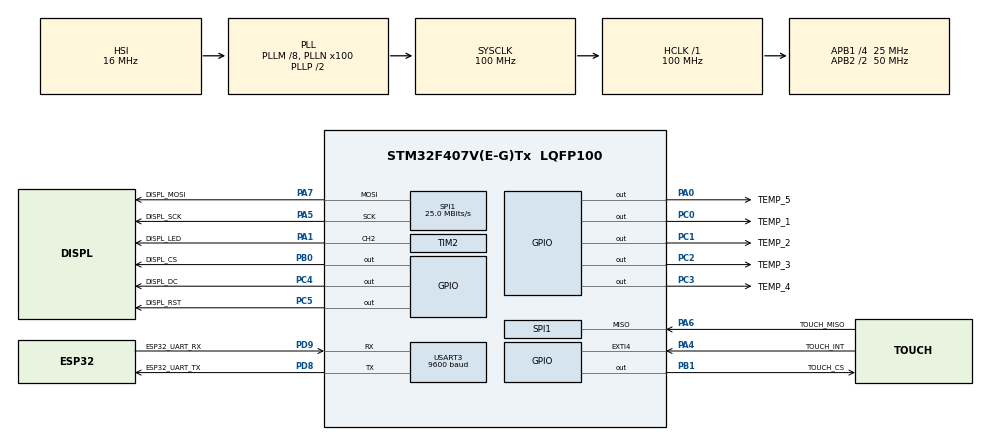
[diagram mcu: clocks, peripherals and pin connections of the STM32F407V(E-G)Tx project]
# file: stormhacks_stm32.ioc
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Dma.Request0=SPI1_TX
Dma.SPI1_TX.0.Direction=DMA_MEMORY_TO_PERIPH
Dma.SPI1_TX.0.FIFOMode=DMA_FIFOMODE_DISABLE
Dma.SPI1_TX.0.Instance=DMA2_Stream3
Dma.SPI1_TX.0.MemDataAlignment=DMA_MDATAALIGN_BYTE
Dma.SPI1_TX.0.MemInc=DMA_MINC_ENABLE
Dma.SPI1_TX.0.Mode=DMA_NORMAL
Dma.SPI1_TX.0.PeriphDataAlignment=DMA_PDATAALIGN_BYTE
Dma.SPI1_TX.0.PeriphInc=DMA_PINC_DISABLE
Dma.SPI1_TX.0.Priority=DMA_PRIORITY_LOW
FREERTOS.Tasks01=defaultTask,24,128,StartDefaultTask,Default,NULL,Dynamic,NULL,NULL
FREERTOS.configCHECK_FOR_STACK_OVERFLOW=2
FREERTOS.configUSE_NEWLIB_REENTRANT=1
Mcu.Family=STM32F4
Mcu.Name=STM32F407V(E-G)Tx
Mcu.Package=LQFP100
NVIC.DMA2_Stream3_IRQn=true\:5\:0\:false\:false\:true\:true\:false\:true\:true
NVIC.EXTI4_IRQn=true\:5\:0\:false\:false\:true\:true\:true\:true\:true
NVIC.PriorityGroup=NVIC_PRIORITYGROUP_4
NVIC.SPI1_IRQn=true\:5\:0\:false\:false\:true\:true\:true\:true\:true
NVIC.TIM7_IRQn=true\:15\:0\:false\:false\:true\:false\:true\:true\:true
NVIC.TimeBase=TIM7_IRQn
NVIC.TimeBaseIP=TIM7
PA0-WKUP.GPIO_Label=TEMP_5
PA0-WKUP.GPIO_ModeDefaultOutputPP=GPIO_MODE_OUTPUT_OD
PA0-WKUP.GPIO_PuPd=GPIO_NOPULL
PA0-WKUP.GPIO_Speed=GPIO_SPEED_FREQ_HIGH
PA0-WKUP.PinState=GPIO_PIN_SET
PA0-WKUP.Signal=GPIO_Output
PA1.GPIO_Label=DISPL_LED
PA1.Signal=S_TIM2_CH2
PA13.Mode=Serial_Wire
PA13.Signal=SYS_JTMS-SWDIO
PA14.Mode=Serial_Wire
PA14.Signal=SYS_JTCK-SWCLK
PA4.GPIO_Label=TOUCH_INT
PA4.GPIO_ModeDefaultEXTI=GPIO_MODE_IT_FALLING
PA4.GPIO_PuPd=GPIO_PULLUP
PA4.Signal=GPXTI4
PA5.GPIO_Label=DISPL_SCK
PA5.Mode=Full_Duplex_Master
PA5.Signal=SPI1_SCK
PA6.GPIO_Label=TOUCH_MISO
PA6.Mode=Full_Duplex_Master
PA6.Signal=SPI1_MISO
PA7.GPIO_Label=DISPL_MOSI
PA7.Mode=Full_Duplex_Master
PA7.Signal=SPI1_MOSI
PB0.GPIO_Label=DISPL_CS
PB0.GPIO_Speed=GPIO_SPEED_FREQ_HIGH
PB0.PinState=GPIO_PIN_SET
PB0.Signal=GPIO_Output
PB1.GPIO_Label=TOUCH_CS
PB1.GPIO_Speed=GPIO_SPEED_FREQ_HIGH
PB1.PinState=GPIO_PIN_SET
PB1.Signal=GPIO_Output
PC0.GPIO_Label=TEMP_1
PC0.GPIO_ModeDefaultOutputPP=GPIO_MODE_OUTPUT_OD
PC0.GPIO_PuPd=GPIO_NOPULL
PC0.GPIO_Speed=GPIO_SPEED_FREQ_HIGH
PC0.PinState=GPIO_PIN_SET
PC0.Signal=GPIO_Output
PC1.GPIO_Label=TEMP_2
PC1.GPIO_ModeDefaultOutputPP=GPIO_MODE_OUTPUT_OD
PC1.GPIO_PuPd=GPIO_NOPULL
PC1.GPIO_Speed=GPIO_SPEED_FREQ_HIGH
PC1.PinState=GPIO_PIN_SET
PC1.Signal=GPIO_Output
PC2.GPIO_Label=TEMP_3
PC2.GPIO_ModeDefaultOutputPP=GPIO_MODE_OUTPUT_OD
PC2.GPIO_PuPd=GPIO_NOPULL
PC2.GPIO_Speed=GPIO_SPEED_FREQ_HIGH
PC2.PinState=GPIO_PIN_SET
PC2.Signal=GPIO_Output
PC3.GPIO_Label=TEMP_4
PC3.GPIO_ModeDefaultOutputPP=GPIO_MODE_OUTPUT_OD
PC3.GPIO_PuPd=GPIO_NOPULL
PC3.GPIO_Speed=GPIO_SPEED_FREQ_HIGH
PC3.PinState=GPIO_PIN_SET
PC3.Signal=GPIO_Output
PC4.GPIO_Label=DISPL_DC
PC4.GPIO_Speed=GPIO_SPEED_FREQ_HIGH
PC4.Signal=GPIO_Output
PC5.GPIO_Label=DISPL_RST
PC5.Signal=GPIO_Output
PD8.GPIO_Label=ESP32_UART_TX
PD8.Mode=Asynchronous
PD8.Signal=USART3_TX
PD9.GPIO_Label=ESP32_UART_RX
PD9.Mode=Asynchronous
PD9.Signal=USART3_RX
PH0-OSC_IN.Mode=HSE-External-Oscillator
PH0-OSC_IN.Signal=RCC_OSC_IN
PH1-OSC_OUT.Mode=HSE-External-Oscillator
PH1-OSC_OUT.Signal=RCC_OSC_OUT
ProjectManager.HeapSize=0x200
ProjectManager.StackSize=0x400
ProjectManager.TargetToolchain=STM32CubeIDE
RCC.48MHZClocksFreq_Value=50000000
RCC.AHBFreq_Value=100000000
RCC.APB1CLKDivider=RCC_HCLK_DIV4
RCC.APB1Freq_Value=25000000
RCC.APB1TimFreq_Value=50000000
RCC.APB2CLKDivider=RCC_HCLK_DIV2
RCC.APB2Freq_Value=50000000
RCC.APB2TimFreq_Value=100000000
RCC.CortexFreq_Value=100000000
RCC.HCLKFreq_Value=100000000
RCC.HSE_VALUE=25000000
RCC.HSI_VALUE=16000000
RCC.LSE_VALUE=32768
RCC.PLLM=8
RCC.PLLN=100
RCC.PLLSourceVirtual=RCC_PLLSOURCE_HSI
RCC.SYSCLKFreq_VALUE=100000000
RCC.SYSCLKSource=RCC_SYSCLKSOURCE_PLLCLK
RCC.VCOOutputFreq_Value=200000000
SH.S_TIM2_CH2.0=TIM2_CH2,PWM Generation2 CH2
SPI1.BaudRatePrescaler=SPI_BAUDRATEPRESCALER_2
SPI1.CalculateBaudRate=25.0 MBits/s
SPI1.Direction=SPI_DIRECTION_2LINES
SPI1.Mode=SPI_MODE_MASTER
SPI1.VirtualType=VM_MASTER
TIM2.Channel-PWM\ Generation2\ CH2=TIM_CHANNEL_2
TIM2.Period=20
TIM2.Prescaler=10000
TIM6.Prescaler=49
USART3.BaudRate=9600
USART3.VirtualMode=VM_ASYNC
USART3.VirtualMode-Asynchronous=VM_ASYNC
VP_FREERTOS_VS_CMSIS_V2.Mode=CMSIS_V2
VP_SYS_VS_tim7.Mode=TIM7
VP_TIM6_VS_ClockSourceINT.Mode=Enable_Timer
board=custom

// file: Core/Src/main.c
/* USER CODE BEGIN Header */
/**
  ******************************************************************************
  * @file           : main.c
  * @brief          : Main program body
  ******************************************************************************
  * @attention
  *
  * Copyright (c) 2026 STMicroelectronics.
  * All rights reserved.
  *
  * This software is licensed under terms that can be found in the LICENSE file
  * in the root directory of this software component.
  * If no LICENSE file comes with this software, it is provided AS-IS.
  *
  ******************************************************************************
  */
/* USER CODE END Header */
#include "main.h"
#include "cmsis_os.h"

/* USER CODE BEGIN Includes */
#include "DS18B20.h"
#include "FreeRTOS.h"
#include "qrcodegen.h"
#include "task.h"
#include <stdio.h>
#include <stdlib.h>
#include <string.h>

/* USER CODE END Includes */

/* USER CODE BEGIN PTD */
typedef enum {
  UI_HOME = 0,
  UI_STATISTICS,
  UI_SETTINGS,
  UI_WIFI_MANAGE,
  UI_DEVICE_INFO,
  UI_WIFI_SETUP,
  UI_ACCOUNT_LOGIN,
  UI_RESET_CONFIRM,
  UI_FORGET_CONFIRM
} UiScreen_t;

/* USER CODE END PTD */

/* USER CODE BEGIN PD */
#define SENSOR_COUNT 5U
#define SENSOR_CONVERSION_TIME_MS 200U
#define SENSOR_REFRESH_TIME_MS 800U
#define UI_BACKGROUND 0xF7BDU /* warm white #F7F4EE */
#define UI_PANEL 0xFFFFU      /* white */
#define UI_PANEL_BORDER 0xDEB9U
#define UI_PRIMARY 0xF465U    /* orange #F28C28 */
#define UI_TEXT 0x2924U       /* charcoal #2B2520 */
#define UI_MUTED 0x7B6CU      /* warm gray #7A6F65 */
#define UI_COOL 0x2C1DU       /* blue #2F80ED */
#define HISTORY_SAMPLES 10U
#define HISTORY_INTERVAL_MS 60000U
#define TEMPERATURE_INVALID INT16_MIN
#define DISPLAY_SLEEP_TIMEOUT_MS 30000U
#define STM32_FIRMWARE_VERSION "1.2.0"
#define COMFORT_MIN_C 18.0f
#define COMFORT_MAX_C 26.0f

/* USER CODE END PD */

SPI_HandleTypeDef hspi1;
DMA_HandleTypeDef hdma_spi1_tx;
DMA_HandleTypeDef hdma_usart3_rx;

TIM_HandleTypeDef htim2;
TIM_HandleTypeDef htim6;

UART_HandleTypeDef huart3;

/* Definitions for defaultTask */
osThreadId_t defaultTaskHandle;
const osThreadAttr_t defaultTask_attributes = {
  .name = "defaultTask",
  .stack_size = 1024 * 4,
  .priority = (osPriority_t) osPriorityNormal,
};
/* USER CODE BEGIN PV */
static DS18B20_t temperature_sensors[SENSOR_COUNT];
static uint8_t temperature_status[SENSOR_COUNT];
static uint8_t temperature_calibrated[SENSOR_COUNT];
static volatile uint32_t wifi_status_sequence;
static char wifi_status_text[40] = "WIFI: WAITING FOR ESP32";
static char displayed_temperature_text[SENSOR_COUNT][32];
#define UART_RX_RING_SIZE 512U
static volatile uint16_t uart_rx_tail;
static uint8_t uart_rx_ring[UART_RX_RING_SIZE];
static volatile uint32_t uart_rx_count;
static volatile uint32_t uart_newline_count;
static volatile uint8_t uart_status_decoded;
static volatile uint8_t uart_last_bytes[4];
static volatile UiScreen_t ui_screen = UI_HOME;
static volatile uint8_t ui_redraw = 1U;
static char wifi_qr_payload[160];
static volatile uint32_t wifi_qr_sequence;
static char device_serial[20] = "---- ---- ---- ----";
static char login_qr_payload[256];
static char login_status_text[48] = "Waiting for server...";
static volatile uint32_t login_sequence;
static char server_status_text[32] = "UNPAIRED";
static volatile uint32_t server_status_sequence;
static volatile uint32_t server_ack_sequence;
static float server_target_temperature;
static uint8_t server_target_valid;
static int16_t temperature_history[SENSOR_COUNT][HISTORY_SAMPLES];
static uint8_t history_count;
static uint8_t history_next;
static uint32_t history_last_tick;
static uint8_t sensor_trend_down[SENSOR_COUNT];
static uint8_t temperature_unit_fahrenheit;
static uint8_t display_sleeping;
static uint32_t last_touch_tick;
static char esp_firmware_version[24] = "WAITING";
static char esp_ip_address[16] = "--";
static int esp_wifi_rssi;
static volatile uint32_t runtime_info_sequence;

static osThreadId_t uartTaskHandle;
static const osThreadAttr_t uartTask_attributes = {
  .name = "uartTask",
  .stack_size = 512 * 4,
  .priority = (osPriority_t) osPriorityBelowNormal,
};

static GPIO_TypeDef *const sensor_ports[SENSOR_COUNT] = {
  TEMP_1_GPIO_Port,
  TEMP_2_GPIO_Port,
  TEMP_3_GPIO_Port,
  TEMP_4_GPIO_Port,
  TEMP_5_GPIO_Port
};

static const uint16_t sensor_pins[SENSOR_COUNT] = {
  TEMP_1_Pin,
  TEMP_2_Pin,
  TEMP_3_Pin,
  TEMP_4_Pin,
  TEMP_5_Pin
};

/* USER CODE END PV */

void SystemClock_Config(void);
static void MX_GPIO_Init(void);
static void MX_DMA_Init(void);
static void MX_SPI1_Init(void);
static void MX_TIM2_Init(void);
static void MX_TIM6_Init(void);
static void MX_USART3_UART_Init(void);
void StartDefaultTask(void *argument);

/* USER CODE BEGIN PFP */
static void DisplayTemperature(uint8_t sensor_index);
static void DisplayWifiStatus(void);
static void DisplayServerStatus(void);
static void StartUartTask(void *argument);
static void UiRender(void);
static void UiHandleTouch(void);
static void UiServiceDelay(uint32_t duration_ms);
static void UiDrawStatistics(void);
static void UiManageSleep(void);
static void DisplayDeviceUptime(void);
static void DisplayDeviceRuntimeInfo(void);
static const char *WifiSignalQuality(int rssi);
static void FormatTemperatureTenths(int32_t celsius_tenths, char *buffer,
                                    size_t buffer_size);
static void HistoryCapture(void);
static void Esp32SendCommand(const char *command);
static void Esp32SendTelemetry(void);
static uint8_t JsonStringField(const char *json, const char *name,
                               char *value, size_t value_size);
static uint8_t JsonNumberField(const char *json, const char *name,
                               float *value);

/* USER CODE END PFP */

/* USER CODE BEGIN 0 */
static uint8_t JsonStringField(const char *json, const char *name,
                               char *value, size_t value_size)
{
  char pattern[40];
  (void)snprintf(pattern, sizeof(pattern), "\"%s\":\"", name);
  const char *start = strstr(json, pattern);
  if (start == NULL || value_size == 0U) return 0U;
  start += strlen(pattern);
  const char *end = strchr(start, '"');
  if (end == NULL) return 0U;
  size_t length = (size_t)(end - start);
  if (length >= value_size) length = value_size - 1U;
  (void)memcpy(value, start, length);
  value[length] = '\0';
  return 1U;
}

static uint16_t TemperatureValueColor(uint8_t sensor_index)
{
  if (temperature_status[sensor_index] != 0U) return UI_MUTED;
  float temperature = temperature_sensors[sensor_index].temperature;
  if (temperature < COMFORT_MIN_C) return UI_COOL;
  if (temperature > COMFORT_MAX_C) return RED;
  return UI_PRIMARY;
}

static const char *WifiSignalQuality(int rssi)
{
  if (rssi == 0) return "DISCONNECTED";
  if (rssi > -50) return "EXCELLENT";
  if (rssi >= -65) return "GOOD";
  if (rssi >= -75) return "WEAK";
  return "POOR";
}

static void DisplayDeviceUptime(void)
{
  uint32_t total_seconds = HAL_GetTick() / 1000U;
  uint32_t hours = total_seconds / 3600U;
  uint32_t minutes = (total_seconds / 60U) % 60U;
  uint32_t seconds = total_seconds % 60U;
  char line[32];
  (void)snprintf(line, sizeof(line), "UPTIME: %02lu:%02lu:%02lu",
                 (unsigned long)hours, (unsigned long)minutes,
                 (unsigned long)seconds);
  Displ_FillArea(25, 213, 430, 32, UI_BACKGROUND);
  Displ_CString(30, 213, 450, 241, line,
                Font16, 1U, UI_TEXT, UI_BACKGROUND);
}

static void DisplayDeviceRuntimeInfo(void)
{
  char firmware[sizeof(esp_firmware_version)];
  char ip_address[sizeof(esp_ip_address)];
  int rssi;
  char line[64];

  taskENTER_CRITICAL();
  (void)strncpy(firmware, esp_firmware_version, sizeof(firmware));
  firmware[sizeof(firmware) - 1U] = '\0';
  (void)strncpy(ip_address, esp_ip_address, sizeof(ip_address));
  ip_address[sizeof(ip_address) - 1U] = '\0';
  rssi = esp_wifi_rssi;
  taskEXIT_CRITICAL();

  Displ_FillArea(25, 108, 430, 100, UI_BACKGROUND);
  (void)snprintf(line, sizeof(line), "ESP32 FIRMWARE: %s", firmware);
  Displ_CString(30, 112, 450, 140, line, Font16, 1U, UI_TEXT, UI_BACKGROUND);
  (void)snprintf(line, sizeof(line), "IP ADDRESS: %s", ip_address);
  Displ_CString(30, 144, 450, 172, line, Font16, 1U, UI_TEXT, UI_BACKGROUND);
  if (rssi != 0)
    (void)snprintf(line, sizeof(line), "WI-FI SIGNAL: %s (%d dBm)",
                   WifiSignalQuality(rssi), rssi);
  else
    (void)strncpy(line, "WI-FI SIGNAL: DISCONNECTED", sizeof(line));
  Displ_CString(30, 176, 450, 204, line, Font16, 1U, UI_TEXT, UI_BACKGROUND);
}

static uint8_t JsonNumberField(const char *json, const char *name,
                               float *value)
{
  char pattern[40];
  (void)snprintf(pattern, sizeof(pattern), "\"%s\":", name);
  const char *start = strstr(json, pattern);
  if (start == NULL || value == NULL) return 0U;
  start += strlen(pattern);
  while (*start == ' ' || *start == '\t') start++;
  if (strncmp(start, "null", 4U) == 0) return 0U;
  char *end = NULL;
  float parsed = strtof(start, &end);
  if (end == start) return 0U;
  *value = parsed;
  return 1U;
}

static void AppendTemperatureJson(char *buffer, size_t buffer_size,
                                  size_t *offset, uint8_t sensor_index,
                                  const char *name)
{
  int written;
  if (temperature_status[sensor_index] != 0U)
  {
    written = snprintf(&buffer[*offset], buffer_size - *offset,
                       "\"%s\":null", name);
  }
  else
  {
    float temperature = temperature_sensors[sensor_index].temperature;
    int32_t tenths = (int32_t)((temperature >= 0.0f)
                              ? (temperature * 10.0f + 0.5f)
                              : (temperature * 10.0f - 0.5f));
    int32_t magnitude = (tenths < 0) ? -tenths : tenths;
    written = snprintf(&buffer[*offset], buffer_size - *offset,
                       "\"%s\":%s%ld.%ld", name,
                       (tenths < 0) ? "-" : "",
                       (long)(magnitude / 10), (long)(magnitude % 10));
  }
  if (written > 0 && (size_t)written < buffer_size - *offset)
  {
    *offset += (size_t)written;
  }
}

static void Esp32SendTelemetry(void)
{
  static uint32_t sequence;
  static const char *const names[SENSOR_COUNT] = {
    "Centre", "Window", "Heater", "Door", "Far wall"
  };
  char message[256];
  size_t offset = (size_t)snprintf(message, sizeof(message),
      "{\"type\":\"telemetry\",\"sequence\":%lu,\"uptime_ms\":%lu,",
      (unsigned long)++sequence, (unsigned long)HAL_GetTick());

  for (uint8_t i = 0U; i < SENSOR_COUNT && offset < sizeof(message); i++)
  {
    AppendTemperatureJson(message, sizeof(message), &offset, i, names[i]);
    if (i + 1U < SENSOR_COUNT && offset + 1U < sizeof(message))
    {
      message[offset++] = ',';
      message[offset] = '\0';
    }
  }
  if (offset + 2U < sizeof(message))
  {
    message[offset++] = '}';
    message[offset++] = '\n';
    message[offset] = '\0';
    (void)HAL_UART_Transmit(&huart3, (uint8_t *)message,
                            (uint16_t)offset, 250U);
  }
}

static void FormatTemperatureTenths(int32_t celsius_tenths, char *buffer,
                                    size_t buffer_size)
{
  int32_t value = celsius_tenths;
  char unit = 'C';
  if (temperature_unit_fahrenheit != 0U)
  {
    value = (value * 9L) / 5L + 320L;
    unit = 'F';
  }
  int32_t magnitude = (value < 0) ? -value : value;
  (void)snprintf(buffer, buffer_size, "%s%ld.%ld %c",
                 (value < 0) ? "-" : "", (long)(magnitude / 10L),
                 (long)(magnitude % 10L), unit);
}

static void DisplayTemperature(uint8_t sensor_index)
{
  char line[32];
  uint16_t x = (sensor_index % 2U == 0U) ? 12U : 246U;
  uint16_t y = (uint16_t)(58U + ((sensor_index / 2U) * 76U));

  if (temperature_status[sensor_index] == 0U)
  {
    float temperature = temperature_sensors[sensor_index].temperature;
    int32_t tenths = (int32_t)((temperature >= 0.0f)
                              ? (temperature * 10.0f + 0.5f)
                              : (temperature * 10.0f - 0.5f));
    FormatTemperatureTenths(tenths, line, sizeof(line));
  }
  else
  {
    (void)snprintf(line, sizeof(line), "NOT CONNECTED E%u",
                   (unsigned int)temperature_status[sensor_index]);
  }

  if (strcmp(line, displayed_temperature_text[sensor_index]) == 0)
  {
    return;
  }
  (void)strncpy(displayed_temperature_text[sensor_index], line,
                sizeof(displayed_temperature_text[sensor_index]));
  displayed_temperature_text[sensor_index]
                            [sizeof(displayed_temperature_text[0]) - 1U] = '\0';

  Displ_CString((uint16_t)(x + 20U), (uint16_t)(y + 28U),
                (uint16_t)(x + 212U), (uint16_t)(y + 56U), line,
                Font16, 1U,
                TemperatureValueColor(sensor_index),
                UI_PANEL);
  Displ_FillArea((uint16_t)(x + 8U), (uint16_t)(y + 10U), 5U, 46U,
                 (temperature_status[sensor_index] != 0U ||
                  sensor_trend_down[sensor_index] != 0U)
                     ? UI_COOL : UI_PRIMARY);
}

static void DisplayWifiStatus(void)
{
  char text[sizeof(wifi_status_text)];
  (void)strncpy(text, wifi_status_text, sizeof(text));
  text[sizeof(text) - 1U] = '\0';

  const char *value = (strncmp(text, "WIFI: ", 6U) == 0) ? &text[6] : text;
  char display_value[sizeof(text)];
  size_t value_length = strlen(value);
  if (value_length >= sizeof(display_value)) value_length = sizeof(display_value) - 1U;
  for (size_t i = 0U; i < value_length; i++)
  {
    char character = value[i];
    if (character == '_') character = ' ';
    if (character >= 'a' && character <= 'z') character -= ('a' - 'A');
    display_value[i] = character;
  }
  display_value[value_length] = '\0';
  Displ_CString(266U, 238U, 458U, 266U, display_value,
                Font16, 1U, UI_PRIMARY, UI_PANEL);
  Displ_FillArea(254U, 220U, 5U, 46U,
                 (strcmp(wifi_status_text, "WIFI: wifi_connected") == 0)
                     ? UI_PRIMARY : UI_COOL);
}

static void DisplayServerStatus(void)
{
  char cloud_line[48];
  char target_line[32];
  char state[sizeof(server_status_text)];

  taskENTER_CRITICAL();
  (void)strncpy(state, server_status_text, sizeof(state));
  state[sizeof(state) - 1U] = '\0';
  uint32_t acknowledged = server_ack_sequence;
  float target = server_target_temperature;
  uint8_t target_valid = server_target_valid;
  taskEXIT_CRITICAL();

  if (acknowledged == 0U)
    (void)snprintf(cloud_line, sizeof(cloud_line), "CLOUD: %.18s | ACK --",
                   state);
  else
    (void)snprintf(cloud_line, sizeof(cloud_line), "CLOUD: %.18s | ACK %lu",
                   state, (unsigned long)acknowledged);

  if (target_valid != 0U)
  {
    int32_t tenths = (int32_t)((target >= 0.0f)
                              ? (target * 10.0f + 0.5f)
                              : (target * 10.0f - 0.5f));
    char value[20];
    FormatTemperatureTenths(tenths, value, sizeof(value));
    (void)snprintf(target_line, sizeof(target_line), "TARGET %s", value);
  }
  else
  {
    (void)strncpy(target_line, "TARGET --", sizeof(target_line));
  }

  Displ_FillArea(205U, 8U, 265U, 40U, UI_BACKGROUND);
  Displ_CString(205U, 8U, 470U, 48U, target_line,
                Font16, 1U, UI_TEXT, UI_BACKGROUND);
  Displ_FillArea(150U, 235U, 320U, 26U, UI_BACKGROUND);
  Displ_CString(150U, 235U, 470U, 261U, cloud_line,
                Font16, 1U, UI_MUTED, UI_BACKGROUND);
}

static void UiDrawSensorCard(uint8_t sensor_index, const char *label,
                             uint16_t accent)
{
  uint16_t x = (sensor_index % 2U == 0U) ? 12U : 246U;
  uint16_t y = (uint16_t)(58U + ((sensor_index / 2U) * 76U));
  Displ_fillRoundRect(x, y, 222, 66, 8, UI_PANEL);
  Displ_drawRoundRect(x, y, 222, 66, 8, UI_PANEL_BORDER);
  Displ_FillArea((uint16_t)(x + 8U), (uint16_t)(y + 10U), 5U, 46U, accent);
  Displ_CString((uint16_t)(x + 20U), (uint16_t)(y + 5U),
                (uint16_t)(x + 212U), (uint16_t)(y + 29U), label,
                Font16, 1U, UI_MUTED, UI_PANEL);
}

static void UiDrawButton(uint16_t x, uint16_t y, uint16_t w, uint16_t h,
                         const char *label, uint16_t color)
{
  uint16_t text_color = (color == UI_PANEL) ? UI_TEXT : WHITE;
  uint16_t border_color = (color == UI_PANEL) ? UI_PRIMARY : color;
  Displ_fillRoundRect(x, y, w, h, 8, color);
  Displ_drawRoundRect(x, y, w, h, 8, border_color);
  Displ_FillArea((uint16_t)(x + 10U), (uint16_t)(y + 10U), 5U,
                 (uint16_t)(h - 20U),
                 (color == UI_PANEL) ? UI_PRIMARY : WHITE);
  Displ_CString(x, y, (uint16_t)(x + w - 1U), (uint16_t)(y + h - 1U),
                label, Font16, 1U, text_color, color);
}

static void UiDrawGear(void)
{
  Displ_fillRoundRect(424, 7, 48, 40, 9, UI_PANEL);
  Displ_drawRoundRect(424, 7, 48, 40, 9, UI_PANEL_BORDER);
  Displ_drawCircle(448, 27, 10, UI_PRIMARY);
  Displ_fillCircle(448, 27, 3, UI_PRIMARY);
  Displ_FillArea(445, 12, 7, 5, UI_PRIMARY);
  Displ_FillArea(445, 37, 7, 5, UI_PRIMARY);
  Displ_FillArea(433, 24, 5, 7, UI_PRIMARY);
  Displ_FillArea(458, 24, 5, 7, UI_PRIMARY);
}

static void UiDrawStatisticsIcon(void)
{
  Displ_fillRoundRect(8, 7, 48, 40, 9, UI_PANEL);
  Displ_drawRoundRect(8, 7, 48, 40, 9, UI_PANEL_BORDER);
  Displ_Line(18, 35, 27, 27, UI_PRIMARY);
  Displ_Line(27, 27, 35, 31, UI_PRIMARY);
  Displ_Line(35, 31, 47, 17, UI_PRIMARY);
  Displ_fillCircle(18, 35, 2, UI_PRIMARY);
  Displ_fillCircle(27, 27, 2, UI_PRIMARY);
  Displ_fillCircle(35, 31, 2, UI_PRIMARY);
  Displ_fillCircle(47, 17, 2, UI_PRIMARY);
}

static void UiDrawStatistics(void)
{
  static const char *const labels[SENSOR_COUNT] = {
    "CENTRE", "WINDOW", "HEATER", "DOOR", "FAR WALL"
  };
  Displ_CString(15, 5, 465, 39, "10 MINUTE TEMPERATURE HISTORY",
                Font16, 1U, UI_PRIMARY, UI_BACKGROUND);

  uint8_t oldest = (history_count < HISTORY_SAMPLES) ? 0U : history_next;
  for (uint8_t sensor = 0U; sensor < SENSOR_COUNT; sensor++)
  {
    uint16_t y = (uint16_t)(43U + sensor * 43U);
    Displ_fillRoundRect(12, y, 456, 37, 7, UI_PANEL);
    Displ_drawRoundRect(12, y, 456, 37, 7, UI_PANEL_BORDER);
    Displ_CString(20, y, 105, (uint16_t)(y + 36U), labels[sensor],
                  Font16, 1U, UI_MUTED, UI_PANEL);

    int16_t minimum = INT16_MAX;
    int16_t maximum = INT16_MIN;
    int16_t latest = TEMPERATURE_INVALID;
    for (uint8_t point = 0U; point < history_count; point++)
    {
      uint8_t index = (uint8_t)((oldest + point) % HISTORY_SAMPLES);
      int16_t value = temperature_history[sensor][index];
      if (value == TEMPERATURE_INVALID) continue;
      if (value < minimum) minimum = value;
      if (value > maximum) maximum = value;
      latest = value;
    }
    char value_text[16];
    if (latest == TEMPERATURE_INVALID)
      (void)snprintf(value_text, sizeof(value_text), "--.- %c",
                     temperature_unit_fahrenheit != 0U ? 'F' : 'C');
    else
    {
      FormatTemperatureTenths(latest, value_text, sizeof(value_text));
    }
    Displ_CString(105, y, 174, (uint16_t)(y + 36U), value_text,
                  Font16, 1U, UI_TEXT, UI_PANEL);

    int16_t previous_x = -1;
    int16_t previous_y = -1;
    for (uint8_t point = 0U; point < history_count; point++)
    {
      uint8_t index = (uint8_t)((oldest + point) % HISTORY_SAMPLES);
      int16_t value = temperature_history[sensor][index];
      if (value == TEMPERATURE_INVALID)
      {
        previous_x = -1;
        continue;
      }
      int16_t plot_x = (int16_t)(184 + point * 29);
      int16_t plot_y = (int16_t)(y + 18U);
      if (maximum > minimum)
        plot_y = (int16_t)(y + 30U -
                 ((int32_t)(value - minimum) * 24 / (maximum - minimum)));
      if (previous_x >= 0)
        Displ_Line(previous_x, previous_y, plot_x, plot_y, UI_PRIMARY);
      Displ_fillCircle(plot_x, plot_y, 2, UI_PRIMARY);
      previous_x = plot_x;
      previous_y = plot_y;
    }
  }
  char progress[24];
  (void)snprintf(progress, sizeof(progress), "%u / 10 MINUTES",
                 (unsigned int)history_count);
  UiDrawButton(15, 270, 130, 40, "< BACK", UI_PANEL);
  Displ_CString(165, 270, 465, 310, progress,
                Font16, 1U, UI_MUTED, UI_BACKGROUND);
}

static void HistoryCapture(void)
{
  uint32_t now = HAL_GetTick();
  if (history_count != 0U && (uint32_t)(now - history_last_tick) < HISTORY_INTERVAL_MS)
    return;

  uint8_t previous_index = (history_next == 0U)
                               ? (HISTORY_SAMPLES - 1U)
                               : (uint8_t)(history_next - 1U);
  for (uint8_t sensor = 0U; sensor < SENSOR_COUNT; sensor++)
  {
    int16_t current = TEMPERATURE_INVALID;
    if (temperature_status[sensor] == 0U)
    {
      float temperature = temperature_sensors[sensor].temperature;
      current = (int16_t)((temperature >= 0.0f)
                         ? (temperature * 10.0f + 0.5f)
                         : (temperature * 10.0f - 0.5f));
    }
    if (history_count != 0U && current != TEMPERATURE_INVALID &&
        temperature_history[sensor][previous_index] != TEMPERATURE_INVALID)
      sensor_trend_down[sensor] =
          current < temperature_history[sensor][previous_index];
    else
      sensor_trend_down[sensor] = 0U;
    temperature_history[sensor][history_next] = current;
  }
  history_next = (uint8_t)((history_next + 1U) % HISTORY_SAMPLES);
  if (history_count < HISTORY_SAMPLES) history_count++;
  history_last_tick = now;
  if (ui_screen == UI_HOME || ui_screen == UI_STATISTICS) ui_redraw = 1U;
}

static void UiDrawQrCode(const char *payload)
{
  enum { QR_VERSION_MAX = 10 };
  static uint8_t temp[qrcodegen_BUFFER_LEN_FOR_VERSION(QR_VERSION_MAX)];
  static uint8_t qr[qrcodegen_BUFFER_LEN_FOR_VERSION(QR_VERSION_MAX)];

  if (payload[0] == '\0' ||
      !qrcodegen_encodeText(payload, temp, qr, qrcodegen_Ecc_LOW,
                            1, QR_VERSION_MAX, qrcodegen_Mask_AUTO, true)) {
    Displ_CString(40, 125, 439, 165, "Waiting for ESP32 setup data...",
                  Font16, 1U, UI_PRIMARY, UI_BACKGROUND);
    return;
  }

  int size = qrcodegen_getSize(qr);
  int scale = 5;
  while ((size + 8) * scale > 220) {
    scale--;
  }
  int pixels = (size + 8) * scale;
  int x0 = (480 - pixels) / 2;
  int y0 = 52;
  Displ_FillArea((uint16_t)x0, (uint16_t)y0,
                 (uint16_t)pixels, (uint16_t)pixels, WHITE);
  for (int y = 0; y < size; y++) {
    for (int x = 0; x < size; x++) {
      if (qrcodegen_getModule(qr, x, y)) {
        Displ_FillArea((uint16_t)(x0 + (x + 4) * scale),
                       (uint16_t)(y0 + (y + 4) * scale),
                       (uint16_t)scale, (uint16_t)scale, BLACK);
      }
    }
  }
}

static void UiRender(void)
{
  Displ_CLS(UI_BACKGROUND);
  if (ui_screen == UI_HOME) {
    static const char *const sensor_labels[SENSOR_COUNT] = {
      "CENTRE", "WINDOW", "HEATER", "DOOR", "FAR WALL"
    };
    static const uint16_t sensor_accents[SENSOR_COUNT] = {
      UI_PRIMARY, UI_PRIMARY, UI_PRIMARY, UI_PRIMARY, UI_PRIMARY
    };
    UiDrawStatisticsIcon();
    Displ_CString(62, 7, 235, 45, "ROOM SENTINEL",
                  Font16, 1U, UI_TEXT, UI_BACKGROUND);
    Displ_CString(238, 7, 414, 45, "LIVE MONITOR",
                  Font16, 1U, UI_PRIMARY, UI_BACKGROUND);
    UiDrawGear();
    (void)memset(displayed_temperature_text, 0,
                 sizeof(displayed_temperature_text));
    for (uint8_t i = 0U; i < SENSOR_COUNT; i++) {
      uint16_t accent = (temperature_status[i] != 0U ||
                         sensor_trend_down[i] != 0U) ? UI_COOL : sensor_accents[i];
      UiDrawSensorCard(i, sensor_labels[i], accent);
      DisplayTemperature(i);
    }
    Displ_fillRoundRect(246, 210, 222, 66, 8, UI_PANEL);
    Displ_drawRoundRect(246, 210, 222, 66, 8, UI_PANEL_BORDER);
    Displ_FillArea(254, 220, 5, 46,
                   (strcmp(wifi_status_text, "WIFI: wifi_connected") == 0)
                       ? UI_PRIMARY : UI_COOL);
    Displ_CString(266, 215, 458, 239, "WI-FI CONNECTION",
                  Font16, 1U, UI_MUTED, UI_PANEL);
    DisplayWifiStatus();
  } else if (ui_screen == UI_STATISTICS) {
    UiDrawStatistics();
  } else if (ui_screen == UI_SETTINGS) {
    Displ_CString(20, 10, 200, 48, "SETTINGS", Font16, 1U, UI_PRIMARY, UI_BACKGROUND);
    UiDrawButton(20, 60, 210, 48, "WI-FI", UI_PANEL);
    UiDrawButton(250, 60, 210, 48,
                 temperature_unit_fahrenheit != 0U ? "UNITS: F" : "UNITS: C",
                 UI_PANEL);
    UiDrawButton(20, 120, 210, 48, "ACCOUNT LOGIN", UI_PANEL);
    UiDrawButton(250, 120, 210, 48, "DEVICE INFO", UI_PANEL);
    UiDrawButton(20, 180, 440, 48, "FACTORY RESET", D_RED);
    UiDrawButton(15, 265, 130, 45, "< BACK", UI_PANEL);
    DisplayServerStatus();
  } else if (ui_screen == UI_WIFI_MANAGE) {
    Displ_CString(20, 8, 250, 45, "WI-FI", Font16, 1U, UI_PRIMARY, UI_BACKGROUND);
    Displ_CString(250, 8, 465, 45,
                  (strncmp(wifi_status_text, "WIFI: ", 6U) == 0)
                      ? &wifi_status_text[6] : wifi_status_text,
                  Font16, 1U, UI_TEXT, UI_BACKGROUND);
    UiDrawButton(40, 58, 400, 48, "RETRY NOW", UI_PANEL);
    UiDrawButton(40, 118, 400, 48, "CHANGE WI-FI", UI_PANEL);
    UiDrawButton(40, 178, 400, 48, "FORGET NETWORK", D_RED);
    UiDrawButton(15, 265, 130, 45, "< BACK", UI_PANEL);
  } else if (ui_screen == UI_DEVICE_INFO) {
    char line[64];
    Displ_CString(20, 8, 459, 45, "DEVICE INFORMATION",
                  Font16, 1U, UI_PRIMARY, UI_BACKGROUND);
    (void)snprintf(line, sizeof(line), "SERIAL: %s", device_serial);
    Displ_CString(30, 48, 450, 76, line, Font16, 1U, UI_TEXT, UI_BACKGROUND);
    (void)snprintf(line, sizeof(line), "STM32 FIRMWARE: %s", STM32_FIRMWARE_VERSION);
    Displ_CString(30, 80, 450, 108, line, Font16, 1U, UI_TEXT, UI_BACKGROUND);
    DisplayDeviceRuntimeInfo();
    DisplayDeviceUptime();
    UiDrawButton(15, 265, 130, 45, "< BACK", UI_PANEL);
  } else if (ui_screen == UI_WIFI_SETUP) {
    Displ_CString(20, 8, 459, 45, "WI-FI SETUP", Font16, 1U, UI_PRIMARY, UI_BACKGROUND);
    UiDrawQrCode(wifi_qr_payload);
    UiDrawButton(15, 265, 130, 45, "< BACK", UI_PANEL);
    if (strncmp(wifi_qr_payload, "http://", 7U) == 0 ||
        strncmp(wifi_qr_payload, "https://", 8U) == 0) {
      Displ_CString(155, 270, 465, 310, "2. Scan to open setup",
                    Font16, 1U, UI_TEXT, UI_BACKGROUND);
    } else {
      Displ_CString(155, 270, 465, 310, "1. Scan to connect",
                    Font16, 1U, UI_TEXT, UI_BACKGROUND);
    }
  } else if (ui_screen == UI_ACCOUNT_LOGIN) {
    Displ_CString(10, 8, 185, 45, "ACCOUNT LOGIN", Font16, 1U, UI_PRIMARY, UI_BACKGROUND);
    Displ_CString(190, 8, 470, 45, device_serial,
                  Font16, 1U, UI_TEXT, UI_BACKGROUND);
    UiDrawQrCode(login_qr_payload);
    UiDrawButton(15, 265, 130, 45, "< BACK", UI_PANEL);
    Displ_CString(150, 270, 470, 310, login_status_text,
                  Font16, 1U, UI_TEXT, UI_BACKGROUND);
  } else if (ui_screen == UI_RESET_CONFIRM) {
    Displ_CString(20, 30, 459, 70, "FACTORY RESET?", Font16, 1U, D_RED, UI_BACKGROUND);
    Displ_CString(30, 90, 449, 130, "Wi-Fi settings will be erased.",
                  Font16, 1U, UI_TEXT, UI_BACKGROUND);
    UiDrawButton(40, 175, 180, 65, "CANCEL", UI_PANEL);
    UiDrawButton(260, 175, 180, 65, "RESET", D_RED);
  } else {
    Displ_CString(20, 30, 459, 70, "FORGET WI-FI NETWORK?",
                  Font16, 1U, D_RED, UI_BACKGROUND);
    Displ_CString(30, 90, 449, 130, "Saved Wi-Fi credentials will be erased.",
                  Font16, 1U, UI_TEXT, UI_BACKGROUND);
    UiDrawButton(40, 175, 180, 65, "CANCEL", UI_PANEL);
    UiDrawButton(260, 175, 180, 65, "FORGET", D_RED);
  }
  ui_redraw = 0U;
}

static void Esp32SendCommand(const char *command)
{
  (void)HAL_UART_Transmit(&huart3, (uint8_t *)command,
                          (uint16_t)strlen(command), 200U);
  (void)HAL_UART_Transmit(&huart3, (uint8_t *)"\n", 1U, 50U);
}

static void UiHandleTouch(void)
{
  uint16_t x, y;
  uint8_t touched;
  if (Touch_GotATouch(0) == 0U && Touch_PollTouch() == 0U) {
    return;
  }
  Touch_GetXYtouch(&x, &y, &touched);
  (void)Touch_WaitForUntouch(250U);
  (void)Touch_GotATouch(1);
  if (touched == 0U) {
    return;
  }

  last_touch_tick = HAL_GetTick();
  if (display_sleeping != 0U)
  {
    display_sleeping = 0U;
    (void)Displ_BackLight('W');
    return;
  }

  if (ui_screen == UI_HOME && y <= 70U) {
    if (x <= 75U)
      ui_screen = UI_STATISTICS;
    else if (x >= 395U)
      ui_screen = UI_SETTINGS;
    else
      return;
    ui_redraw = 1U;
  } else if (ui_screen == UI_STATISTICS && x <= 180U && y >= 240U) {
    ui_screen = UI_HOME;
    ui_redraw = 1U;
  } else if (ui_screen == UI_SETTINGS) {
    if (x < 240U && y >= 45U && y < 115U) {
      ui_screen = UI_WIFI_MANAGE;
      ui_redraw = 1U;
    } else if (x >= 240U && y >= 45U && y < 115U) {
      temperature_unit_fahrenheit = !temperature_unit_fahrenheit;
      Esp32SendCommand(temperature_unit_fahrenheit != 0U
                           ? "SET_UNITS_F" : "SET_UNITS_C");
      (void)memset(displayed_temperature_text, 0,
                   sizeof(displayed_temperature_text));
      ui_redraw = 1U;
    } else if (x < 240U && y >= 115U && y < 175U) {
      login_qr_payload[0] = '\0';
      (void)strncpy(login_status_text, "Requesting login...",
                    sizeof(login_status_text));
      ui_screen = UI_ACCOUNT_LOGIN;
      ui_redraw = 1U;
      Esp32SendCommand("START_LOGIN");
    } else if (x >= 240U && y >= 115U && y < 175U) {
      ui_screen = UI_DEVICE_INFO;
      ui_redraw = 1U;
    } else if (y >= 175U && y < 240U) {
      ui_screen = UI_RESET_CONFIRM;
      ui_redraw = 1U;
    } else if (x <= 180U && y >= 240U) {
      ui_screen = UI_HOME;
      ui_redraw = 1U;
    }
  } else if (ui_screen == UI_WIFI_MANAGE) {
    if (y >= 45U && y < 112U) {
      Esp32SendCommand("RETRY_WIFI");
      ui_redraw = 1U;
    } else if (y >= 112U && y < 172U) {
      wifi_qr_payload[0] = '\0';
      ui_screen = UI_WIFI_SETUP;
      ui_redraw = 1U;
      Esp32SendCommand("START_PROVISIONING");
    } else if (y >= 172U && y < 240U) {
      ui_screen = UI_FORGET_CONFIRM;
      ui_redraw = 1U;
    } else if (x <= 180U && y >= 240U) {
      ui_screen = UI_SETTINGS;
      ui_redraw = 1U;
    }
  } else if (ui_screen == UI_DEVICE_INFO && x <= 180U && y >= 240U) {
    ui_screen = UI_SETTINGS;
    ui_redraw = 1U;
  } else if (ui_screen == UI_WIFI_SETUP && x <= 180U && y >= 240U) {
    ui_screen = UI_SETTINGS;
    ui_redraw = 1U;
  } else if (ui_screen == UI_ACCOUNT_LOGIN && x <= 180U && y >= 240U) {
    ui_screen = UI_SETTINGS;
    ui_redraw = 1U;
  } else if (ui_screen == UI_RESET_CONFIRM && y >= 145U && y <= 270U) {
    if (x < 240U) {
      ui_screen = UI_SETTINGS;
    } else {
      wifi_qr_payload[0] = '\0';
      ui_screen = UI_WIFI_SETUP;
      Esp32SendCommand("FACTORY_RESET");
    }
    ui_redraw = 1U;
  } else if (ui_screen == UI_FORGET_CONFIRM && y >= 145U && y <= 270U) {
    if (x < 240U) {
      ui_screen = UI_WIFI_MANAGE;
    } else {
      wifi_qr_payload[0] = '\0';
      ui_screen = UI_WIFI_SETUP;
      Esp32SendCommand("FORGET_WIFI");
    }
    ui_redraw = 1U;
  }
}

static void UiManageSleep(void)
{
  if (display_sleeping == 0U &&
      (uint32_t)(HAL_GetTick() - last_touch_tick) >= DISPLAY_SLEEP_TIMEOUT_MS)
  {
    (void)Displ_BackLight('S');
    (void)Displ_BackLight('0');
    display_sleeping = 1U;
  }
}

static void UiServiceDelay(uint32_t duration_ms)
{
  uint32_t elapsed = 0U;
  while (elapsed < duration_ms)
  {
    UiHandleTouch();
    UiManageSleep();
    if (ui_redraw != 0U)
    {
      UiRender();
    }
    uint32_t step = ((duration_ms - elapsed) > 20U) ? 20U : (duration_ms - elapsed);
    osDelay(step);
    elapsed += step;
  }
}

/* USER CODE END 0 */

int main(void)
{

  /* MCU Configuration--------------------------------------------------------*/

  /* Reset of all peripherals, Initializes the Flash interface and the Systick. */
  HAL_Init();

  /* Configure the system clock */
  SystemClock_Config();

  /* Initialize all configured peripherals */
  MX_GPIO_Init();
  MX_DMA_Init();
  MX_SPI1_Init();
  MX_TIM2_Init();
  MX_TIM6_Init();
  MX_USART3_UART_Init();
  /* USER CODE BEGIN 2 */
  HAL_TIM_Base_Start(&htim6);
  DS18B20_SetTimer(TIM6);

  Displ_Init(Displ_Orientat_270);
  Displ_CLS(UI_BACKGROUND);
  Displ_BackLight('I');
  last_touch_tick = HAL_GetTick();

  for (uint8_t i = 0U; i < SENSOR_COUNT; i++)
  {
    temperature_status[i] = DS18B20_Init(&temperature_sensors[i],
                                         sensor_ports[i], sensor_pins[i]);
    if (temperature_status[i] == 0U)
    {
      temperature_status[i] =
          DS18B20_AutoTuneReadTiming(&temperature_sensors[i], NULL);
      temperature_calibrated[i] = (temperature_status[i] == 0U) ? 1U : 0U;
    }
  }

  UiRender();

  /* USER CODE END 2 */

  /* Init scheduler */
  osKernelInitialize();

  /* Create the thread(s) */
  /* creation of defaultTask */
  defaultTaskHandle = osThreadNew(StartDefaultTask, NULL, &defaultTask_attributes);

  /* USER CODE BEGIN RTOS_THREADS */
  uartTaskHandle = osThreadNew(StartUartTask, NULL, &uartTask_attributes);
  if (uartTaskHandle == NULL)
  {
    (void)strncpy(wifi_status_text, "WIFI: UART TASK ERROR",
                  sizeof(wifi_status_text));
    wifi_status_text[sizeof(wifi_status_text) - 1U] = '\0';
    wifi_status_sequence++;
  }
  /* USER CODE END RTOS_THREADS */

  /* Start scheduler */
  osKernelStart();

  /* We should never get here as control is now taken by the scheduler */

  /* Infinite loop */
  while (1)
  {

  }
}

void SystemClock_Config(void)
{
  RCC_OscInitTypeDef RCC_OscInitStruct = {0};
  RCC_ClkInitTypeDef RCC_ClkInitStruct = {0};

  /** Configure the main internal regulator output voltage
  */
  __HAL_RCC_PWR_CLK_ENABLE();
  __HAL_PWR_VOLTAGESCALING_CONFIG(PWR_REGULATOR_VOLTAGE_SCALE1);

  /** Initializes the RCC Oscillators according to the specified parameters
  * in the RCC_OscInitTypeDef structure.
  */
  RCC_OscInitStruct.OscillatorType = RCC_OSCILLATORTYPE_HSI;
  RCC_OscInitStruct.HSIState = RCC_HSI_ON;
  RCC_OscInitStruct.HSICalibrationValue = RCC_HSICALIBRATION_DEFAULT;
  RCC_OscInitStruct.PLL.PLLState = RCC_PLL_ON;
  RCC_OscInitStruct.PLL.PLLSource = RCC_PLLSOURCE_HSI;
  RCC_OscInitStruct.PLL.PLLM = 8;
  RCC_OscInitStruct.PLL.PLLN = 100;
  RCC_OscInitStruct.PLL.PLLP = RCC_PLLP_DIV2;
  RCC_OscInitStruct.PLL.PLLQ = 4;
  if (HAL_RCC_OscConfig(&RCC_OscInitStruct) != HAL_OK)
  {
    Error_Handler();
  }

  /** Initializes the CPU, AHB and APB buses clocks
  */
  RCC_ClkInitStruct.ClockType = RCC_CLOCKTYPE_HCLK|RCC_CLOCKTYPE_SYSCLK
                              |RCC_CLOCKTYPE_PCLK1|RCC_CLOCKTYPE_PCLK2;
  RCC_ClkInitStruct.SYSCLKSource = RCC_SYSCLKSOURCE_PLLCLK;
  RCC_ClkInitStruct.AHBCLKDivider = RCC_SYSCLK_DIV1;
  RCC_ClkInitStruct.APB1CLKDivider = RCC_HCLK_DIV4;
  RCC_ClkInitStruct.APB2CLKDivider = RCC_HCLK_DIV2;

  if (HAL_RCC_ClockConfig(&RCC_ClkInitStruct, FLASH_LATENCY_3) != HAL_OK)
  {
    Error_Handler();
  }
}

static void MX_SPI1_Init(void)
{

  /* SPI1 parameter configuration*/
  hspi1.Instance = SPI1;
  hspi1.Init.Mode = SPI_MODE_MASTER;
  hspi1.Init.Direction = SPI_DIRECTION_2LINES;
  hspi1.Init.DataSize = SPI_DATASIZE_8BIT;
  hspi1.Init.CLKPolarity = SPI_POLARITY_LOW;
  hspi1.Init.CLKPhase = SPI_PHASE_1EDGE;
  hspi1.Init.NSS = SPI_NSS_SOFT;
  hspi1.Init.BaudRatePrescaler = SPI_BAUDRATEPRESCALER_2;
  hspi1.Init.FirstBit = SPI_FIRSTBIT_MSB;
  hspi1.Init.TIMode = SPI_TIMODE_DISABLE;
  hspi1.Init.CRCCalculation = SPI_CRCCALCULATION_DISABLE;
  hspi1.Init.CRCPolynomial = 10;
  if (HAL_SPI_Init(&hspi1) != HAL_OK)
  {
    Error_Handler();
  }

}

static void MX_TIM2_Init(void)
{

  TIM_MasterConfigTypeDef sMasterConfig = {0};
  TIM_OC_InitTypeDef sConfigOC = {0};

  htim2.Instance = TIM2;
  htim2.Init.Prescaler = 10000;
  htim2.Init.CounterMode = TIM_COUNTERMODE_UP;
  htim2.Init.Period = 20;
  htim2.Init.ClockDivision = TIM_CLOCKDIVISION_DIV1;
  htim2.Init.AutoReloadPreload = TIM_AUTORELOAD_PRELOAD_DISABLE;
  if (HAL_TIM_PWM_Init(&htim2) != HAL_OK)
  {
    Error_Handler();
  }
  sMasterConfig.MasterOutputTrigger = TIM_TRGO_RESET;
  sMasterConfig.MasterSlaveMode = TIM_MASTERSLAVEMODE_DISABLE;
  if (HAL_TIMEx_MasterConfigSynchronization(&htim2, &sMasterConfig) != HAL_OK)
  {
    Error_Handler();
  }
  sConfigOC.OCMode = TIM_OCMODE_PWM1;
  sConfigOC.Pulse = 0;
  sConfigOC.OCPolarity = TIM_OCPOLARITY_HIGH;
  sConfigOC.OCFastMode = TIM_OCFAST_DISABLE;
  if (HAL_TIM_PWM_ConfigChannel(&htim2, &sConfigOC, TIM_CHANNEL_2) != HAL_OK)
  {
    Error_Handler();
  }
  HAL_TIM_MspPostInit(&htim2);

}

static void MX_TIM6_Init(void)
{

  TIM_MasterConfigTypeDef sMasterConfig = {0};

  htim6.Instance = TIM6;
  htim6.Init.Prescaler = 49;
  htim6.Init.CounterMode = TIM_COUNTERMODE_UP;
  htim6.Init.Period = 65535;
  htim6.Init.AutoReloadPreload = TIM_AUTORELOAD_PRELOAD_DISABLE;
  if (HAL_TIM_Base_Init(&htim6) != HAL_OK)
  {
    Error_Handler();
  }
  sMasterConfig.MasterOutputTrigger = TIM_TRGO_RESET;
  sMasterConfig.MasterSlaveMode = TIM_MASTERSLAVEMODE_DISABLE;
  if (HAL_TIMEx_MasterConfigSynchronization(&htim6, &sMasterConfig) != HAL_OK)
  {
    Error_Handler();
  }

}

static void MX_USART3_UART_Init(void)
{

  huart3.Instance = USART3;
  huart3.Init.BaudRate = 9600;
  huart3.Init.WordLength = UART_WORDLENGTH_8B;
  huart3.Init.StopBits = UART_STOPBITS_1;
  huart3.Init.Parity = UART_PARITY_NONE;
  huart3.Init.Mode = UART_MODE_TX_RX;
  huart3.Init.HwFlowCtl = UART_HWCONTROL_NONE;
  huart3.Init.OverSampling = UART_OVERSAMPLING_16;
  if (HAL_UART_Init(&huart3) != HAL_OK)
  {
    Error_Handler();
  }
  /* USER CODE BEGIN USART3_Init 2 */
  if (HAL_UART_Receive_DMA(&huart3, uart_rx_ring, UART_RX_RING_SIZE) != HAL_OK)
  {
    Error_Handler();
  }

  /* USER CODE END USART3_Init 2 */

}

static void MX_DMA_Init(void)
{

  /* DMA controller clock enable */
  __HAL_RCC_DMA2_CLK_ENABLE();

  /* DMA interrupt init */
  /* DMA2_Stream3_IRQn interrupt configuration */
  HAL_NVIC_SetPriority(DMA2_Stream3_IRQn, 5, 0);
  HAL_NVIC_EnableIRQ(DMA2_Stream3_IRQn);

}

static void MX_GPIO_Init(void)
{
  GPIO_InitTypeDef GPIO_InitStruct = {0};

  /* GPIO Ports Clock Enable */
  __HAL_RCC_GPIOH_CLK_ENABLE();
  __HAL_RCC_GPIOC_CLK_ENABLE();
  __HAL_RCC_GPIOA_CLK_ENABLE();
  __HAL_RCC_GPIOB_CLK_ENABLE();
  __HAL_RCC_GPIOD_CLK_ENABLE();

  /*Configure GPIO pin Output Level */
  HAL_GPIO_WritePin(GPIOC, TEMP_1_Pin|TEMP_2_Pin|TEMP_3_Pin|TEMP_4_Pin, GPIO_PIN_SET);

  /*Configure GPIO pin Output Level */
  HAL_GPIO_WritePin(TEMP_5_GPIO_Port, TEMP_5_Pin, GPIO_PIN_SET);

  /*Configure GPIO pin Output Level */
  HAL_GPIO_WritePin(GPIOC, DISPL_DC_Pin|DISPL_RST_Pin, GPIO_PIN_RESET);

  /*Configure GPIO pin Output Level */
  HAL_GPIO_WritePin(GPIOB, DISPL_CS_Pin|TOUCH_CS_Pin, GPIO_PIN_SET);

  /*Configure GPIO pins : TEMP_1_Pin TEMP_2_Pin TEMP_3_Pin TEMP_4_Pin */
  GPIO_InitStruct.Pin = TEMP_1_Pin|TEMP_2_Pin|TEMP_3_Pin|TEMP_4_Pin;
  GPIO_InitStruct.Mode = GPIO_MODE_OUTPUT_OD;
  GPIO_InitStruct.Pull = GPIO_NOPULL;
  GPIO_InitStruct.Speed = GPIO_SPEED_FREQ_HIGH;
  HAL_GPIO_Init(GPIOC, &GPIO_InitStruct);

  /*Configure GPIO pin : TEMP_5_Pin */
  GPIO_InitStruct.Pin = TEMP_5_Pin;
  GPIO_InitStruct.Mode = GPIO_MODE_OUTPUT_OD;
  GPIO_InitStruct.Pull = GPIO_NOPULL;
  GPIO_InitStruct.Speed = GPIO_SPEED_FREQ_HIGH;
  HAL_GPIO_Init(TEMP_5_GPIO_Port, &GPIO_InitStruct);

  /*Configure GPIO pin : TOUCH_INT_Pin */
  GPIO_InitStruct.Pin = TOUCH_INT_Pin;
  GPIO_InitStruct.Mode = GPIO_MODE_IT_FALLING;
  GPIO_InitStruct.Pull = GPIO_PULLUP;
  HAL_GPIO_Init(TOUCH_INT_GPIO_Port, &GPIO_InitStruct);

  /*Configure GPIO pin : DISPL_DC_Pin */
  GPIO_InitStruct.Pin = DISPL_DC_Pin;
  GPIO_InitStruct.Mode = GPIO_MODE_OUTPUT_PP;
  GPIO_InitStruct.Pull = GPIO_NOPULL;
  GPIO_InitStruct.Speed = GPIO_SPEED_FREQ_HIGH;
  HAL_GPIO_Init(DISPL_DC_GPIO_Port, &GPIO_InitStruct);

  /*Configure GPIO pin : DISPL_RST_Pin */
  GPIO_InitStruct.Pin = DISPL_RST_Pin;
  GPIO_InitStruct.Mode = GPIO_MODE_OUTPUT_PP;
  GPIO_InitStruct.Pull = GPIO_NOPULL;
  GPIO_InitStruct.Speed = GPIO_SPEED_FREQ_LOW;
  HAL_GPIO_Init(DISPL_RST_GPIO_Port, &GPIO_InitStruct);

  /*Configure GPIO pins : DISPL_CS_Pin TOUCH_CS_Pin */
  GPIO_InitStruct.Pin = DISPL_CS_Pin|TOUCH_CS_Pin;
  GPIO_InitStruct.Mode = GPIO_MODE_OUTPUT_PP;
  GPIO_InitStruct.Pull = GPIO_NOPULL;
  GPIO_InitStruct.Speed = GPIO_SPEED_FREQ_HIGH;
  HAL_GPIO_Init(GPIOB, &GPIO_InitStruct);

  /* EXTI interrupt init*/
  HAL_NVIC_SetPriority(EXTI4_IRQn, 5, 0);
  HAL_NVIC_EnableIRQ(EXTI4_IRQn);

}

/* USER CODE BEGIN 4 */

static void StartUartTask(void *argument)
{
  uint8_t byte;
  char line[512];
  size_t length = 0U;
  uint8_t received_any_data = 0U;

  (void)argument;
  taskENTER_CRITICAL();
  (void)strncpy(wifi_status_text, "WIFI: UART READY",
                sizeof(wifi_status_text));
  wifi_status_text[sizeof(wifi_status_text) - 1U] = '\0';
  wifi_status_sequence++;
  taskEXIT_CRITICAL();

  for (;;)
  {
    uint16_t dma_head = (uint16_t)(UART_RX_RING_SIZE -
        __HAL_DMA_GET_COUNTER(&hdma_usart3_rx));
    if (uart_rx_tail == dma_head)
    {
      osDelay(1U);
      continue;
    }

    byte = uart_rx_ring[uart_rx_tail];
    uart_rx_tail = (uint16_t)((uart_rx_tail + 1U) % UART_RX_RING_SIZE);
    uart_rx_count++;
    uart_last_bytes[0] = uart_last_bytes[1];
    uart_last_bytes[1] = uart_last_bytes[2];
    uart_last_bytes[2] = uart_last_bytes[3];
    uart_last_bytes[3] = byte;

    if (received_any_data == 0U)
    {
      received_any_data = 1U;
      taskENTER_CRITICAL();
      (void)strncpy(wifi_status_text, "WIFI: UART DATA",
                    sizeof(wifi_status_text));
      wifi_status_text[sizeof(wifi_status_text) - 1U] = '\0';
      wifi_status_sequence++;
      taskEXIT_CRITICAL();
    }

    if (byte == '\n')
    {
      uart_newline_count++;
      line[length] = '\0';
      uint8_t pairing_line = (strstr(line, "\"type\":\"pairing") != NULL);
      if (strstr(line, "\"type\":\"device_info\"") != NULL)
      {
        char serial[sizeof(device_serial)];
        if (JsonStringField(line, "serial", serial, sizeof(serial)) != 0U)
        {
          taskENTER_CRITICAL();
          if (strcmp(device_serial, serial) != 0)
          {
            (void)strncpy(device_serial, serial, sizeof(device_serial));
            device_serial[sizeof(device_serial) - 1U] = '\0';
            login_sequence++;
          }
          taskEXIT_CRITICAL();
        }
      }
      if (strstr(line, "\"type\":\"runtime_info\"") != NULL)
      {
        char firmware[sizeof(esp_firmware_version)] = "";
        char ip_address[sizeof(esp_ip_address)] = "";
        float rssi = 0.0f;
        uint8_t runtime_changed = 0U;
        (void)JsonStringField(line, "esp_firmware", firmware,
                              sizeof(firmware));
        (void)JsonStringField(line, "ip", ip_address, sizeof(ip_address));
        (void)JsonNumberField(line, "rssi", &rssi);
        taskENTER_CRITICAL();
        if (firmware[0] != '\0' &&
            strcmp(esp_firmware_version, firmware) != 0)
        {
          (void)strncpy(esp_firmware_version, firmware,
                        sizeof(esp_firmware_version));
          esp_firmware_version[sizeof(esp_firmware_version) - 1U] = '\0';
          runtime_changed = 1U;
        }
        if (ip_address[0] != '\0' &&
            strcmp(esp_ip_address, ip_address) != 0)
        {
          (void)strncpy(esp_ip_address, ip_address,
                        sizeof(esp_ip_address));
          esp_ip_address[sizeof(esp_ip_address) - 1U] = '\0';
          runtime_changed = 1U;
        }
        if (esp_wifi_rssi != (int)rssi)
        {
          esp_wifi_rssi = (int)rssi;
          runtime_changed = 1U;
        }
        if (runtime_changed != 0U) runtime_info_sequence++;
        taskEXIT_CRITICAL();
      }
      if (strstr(line, "\"type\":\"preferences\"") != NULL)
      {
        char unit[2] = "";
        if (JsonStringField(line, "unit", unit, sizeof(unit)) != 0U)
        {
          uint8_t use_fahrenheit = (unit[0] == 'F') ? 1U : 0U;
          if (temperature_unit_fahrenheit != use_fahrenheit)
          {
            temperature_unit_fahrenheit = use_fahrenheit;
            (void)memset(displayed_temperature_text, 0,
                         sizeof(displayed_temperature_text));
            ui_redraw = 1U;
          }
        }
      }
      if (pairing_line != 0U)
      {
        char pairing_url[sizeof(login_qr_payload)] = "";
        char email[48] = "";
        char state[32] = "";
        char new_login_status[sizeof(login_status_text)] = "";
        (void)JsonStringField(line, "pairing_url", pairing_url,
                              sizeof(pairing_url));
        if (pairing_url[0] == '\0')
        {
          (void)JsonStringField(line, "qr", pairing_url,
                                sizeof(pairing_url));
        }
        (void)JsonStringField(line, "email", email, sizeof(email));
        (void)JsonStringField(line, "state", state, sizeof(state));

        if (strstr(line, "\"type\":\"pairing_created\"") != NULL)
          (void)strncpy(new_login_status, "Scan QR to log in",
                        sizeof(new_login_status));
        else if (strstr(line, "\"type\":\"pairing_success\"") != NULL)
          (void)strncpy(new_login_status, "Account linked",
                        sizeof(new_login_status));
        else if (strstr(line, "\"type\":\"pairing_failed\"") != NULL)
          (void)strncpy(new_login_status, "Login failed", sizeof(new_login_status));
        else if (strcmp(state, "requesting") == 0)
          (void)strncpy(new_login_status, "Requesting login...",
                        sizeof(new_login_status));
        else if (strcmp(state, "server_offline") == 0)
          (void)strncpy(new_login_status, "Server offline - retrying",
                        sizeof(new_login_status));

        taskENTER_CRITICAL();
        if (pairing_url[0] != '\0')
        {
          (void)strncpy(login_qr_payload, pairing_url,
                        sizeof(login_qr_payload));
          login_qr_payload[sizeof(login_qr_payload) - 1U] = '\0';
        }
        if (new_login_status[0] != '\0')
        {
          (void)strncpy(login_status_text, new_login_status,
                        sizeof(login_status_text));
          login_status_text[sizeof(login_status_text) - 1U] = '\0';
        }
        login_sequence++;
        taskEXIT_CRITICAL();
      }
      const char *qr_value = strstr(line, "\"qr\":\"");
      if (pairing_line == 0U && qr_value != NULL)
      {
        qr_value += sizeof("\"qr\":\"") - 1U;
        const char *qr_end = strchr(qr_value, '"');
        if (qr_end != NULL)
        {
          size_t qr_length = (size_t)(qr_end - qr_value);
          if (qr_length >= sizeof(wifi_qr_payload))
          {
            qr_length = sizeof(wifi_qr_payload) - 1U;
          }
          char new_qr_payload[sizeof(wifi_qr_payload)];
          (void)memcpy(new_qr_payload, qr_value, qr_length);
          new_qr_payload[qr_length] = '\0';

          taskENTER_CRITICAL();
          if (strcmp(wifi_qr_payload, new_qr_payload) != 0)
          {
            (void)strncpy(wifi_qr_payload, new_qr_payload,
                          sizeof(wifi_qr_payload));
            wifi_qr_payload[sizeof(wifi_qr_payload) - 1U] = '\0';
            wifi_qr_sequence++;
          }
          taskEXIT_CRITICAL();
        }
      }
      const char *state = strstr(line, "\"state\":\"");
      if (pairing_line == 0U &&
          strstr(line, "\"type\":\"status\"") != NULL && state != NULL)
      {
        state += sizeof("\"state\":\"") - 1U;
        const char *end = strchr(state, '"');
        if (end != NULL)
        {
          size_t state_length = (size_t)(end - state);
          if (state_length > (sizeof(wifi_status_text) - 7U))
          {
            state_length = sizeof(wifi_status_text) - 7U;
          }

          char new_status[sizeof(wifi_status_text)];
          (void)memcpy(new_status, "WIFI: ", 6U);
          (void)memcpy(&new_status[6], state, state_length);
          new_status[6U + state_length] = '\0';

          taskENTER_CRITICAL();
          uart_status_decoded = 1U;
          if (strcmp(wifi_status_text, new_status) != 0)
          {
            (void)strncpy(wifi_status_text, new_status,
                          sizeof(wifi_status_text));
            wifi_status_text[sizeof(wifi_status_text) - 1U] = '\0';
            wifi_status_sequence++;
          }
          taskEXIT_CRITICAL();
        }
      }
      if (strstr(line, "\"type\":\"server_status\"") != NULL)
      {
        char new_server_status[sizeof(server_status_text)] = "";
        if (JsonStringField(line, "state", new_server_status,
                            sizeof(new_server_status)) != 0U)
        {
          for (size_t i = 0U; new_server_status[i] != '\0'; i++)
          {
            if (new_server_status[i] == '_') new_server_status[i] = ' ';
            if (new_server_status[i] >= 'a' && new_server_status[i] <= 'z')
              new_server_status[i] -= ('a' - 'A');
          }
          taskENTER_CRITICAL();
          if (strcmp(server_status_text, new_server_status) != 0)
          {
            (void)strncpy(server_status_text, new_server_status,
                          sizeof(server_status_text));
            server_status_text[sizeof(server_status_text) - 1U] = '\0';
            server_status_sequence++;
          }
          taskEXIT_CRITICAL();
        }
      }
      if (strstr(line, "\"type\":\"settings\"") != NULL)
      {
        float target;
        taskENTER_CRITICAL();
        if (JsonNumberField(line, "target_temperature", &target) != 0U)
        {
          server_target_temperature = target;
          server_target_valid = 1U;
        }
        else
        {
          server_target_valid = 0U;
        }
        server_status_sequence++;
        taskEXIT_CRITICAL();
      }
      if (strstr(line, "\"ok\":true") != NULL)
      {
        float acknowledged;
        if (JsonNumberField(line, "seq", &acknowledged) != 0U &&
            acknowledged >= 0.0f)
        {
          taskENTER_CRITICAL();
          server_ack_sequence = (uint32_t)acknowledged;
          server_status_sequence++;
          taskEXIT_CRITICAL();
        }
      }
      else if (strstr(line, "\"ok\":false") != NULL)
      {
        taskENTER_CRITICAL();
        (void)strncpy(server_status_text, "DATA REJECTED",
                      sizeof(server_status_text));
        server_status_text[sizeof(server_status_text) - 1U] = '\0';
        server_status_sequence++;
        taskEXIT_CRITICAL();
      }
      length = 0U;
    }
    else if (byte != '\r')
    {
      if (length < (sizeof(line) - 1U))
      {
        line[length++] = (char)byte;
      }
      else
      {
        length = 0U;
      }
    }
  }
}

/* USER CODE END 4 */

void StartDefaultTask(void *argument)
{
  /* USER CODE BEGIN 5 */
  uint32_t displayed_wifi_sequence = UINT32_MAX;
  uint32_t displayed_qr_sequence = wifi_qr_sequence;
  uint32_t displayed_login_sequence = login_sequence;
  uint32_t displayed_server_sequence = server_status_sequence;
  uint32_t displayed_uptime_second = UINT32_MAX;
  uint32_t displayed_runtime_sequence = runtime_info_sequence;
  /* Infinite loop */
  for(;;)
  {
    for (uint8_t i = 0U; i < SENSOR_COUNT; i++)
    {
      if (temperature_calibrated[i] == 0U)
      {
        temperature_status[i] = DS18B20_Init(&temperature_sensors[i],
                                             sensor_ports[i], sensor_pins[i]);
        if (temperature_status[i] == 0U)
        {
          temperature_status[i] =
              DS18B20_AutoTuneReadTiming(&temperature_sensors[i], NULL);
          temperature_calibrated[i] =
              (temperature_status[i] == 0U) ? 1U : 0U;
        }
      }

      if (temperature_calibrated[i] != 0U)
      {
        temperature_status[i] =
            DS18B20_StartConversion(&temperature_sensors[i]);
      }
    }

    UiServiceDelay(SENSOR_CONVERSION_TIME_MS);

    for (uint8_t i = 0U; i < SENSOR_COUNT; i++)
    {
      if (temperature_status[i] == 0U)
      {
        temperature_status[i] = DS18B20_ReadTemperature(&temperature_sensors[i]);
      }
      if (temperature_status[i] != 0U)
      {
        temperature_calibrated[i] = 0U;
      }

      if (ui_screen == UI_HOME)
      {
        DisplayTemperature(i);
      }
    }

    Esp32SendTelemetry();
    HistoryCapture();

    if (displayed_wifi_sequence != wifi_status_sequence)
    {
      displayed_wifi_sequence = wifi_status_sequence;
      if (ui_screen == UI_HOME)
      {
        DisplayWifiStatus();
      }
    }
    if (displayed_qr_sequence != wifi_qr_sequence)
    {
      displayed_qr_sequence = wifi_qr_sequence;
      if (ui_screen == UI_WIFI_SETUP)
      {
        ui_redraw = 1U;
      }
    }
    if (displayed_login_sequence != login_sequence)
    {
      displayed_login_sequence = login_sequence;
      if (ui_screen == UI_ACCOUNT_LOGIN)
      {
        ui_redraw = 1U;
      }
    }
    if (displayed_server_sequence != server_status_sequence)
    {
      displayed_server_sequence = server_status_sequence;
      if (ui_screen == UI_SETTINGS)
      {
        DisplayServerStatus();
      }
    }
    uint32_t uptime_second = HAL_GetTick() / 1000U;
    if (ui_screen == UI_DEVICE_INFO &&
        displayed_uptime_second != uptime_second)
    {
      displayed_uptime_second = uptime_second;
      DisplayDeviceUptime();
    }
    if (displayed_runtime_sequence != runtime_info_sequence)
    {
      displayed_runtime_sequence = runtime_info_sequence;
      if (ui_screen == UI_DEVICE_INFO) DisplayDeviceRuntimeInfo();
    }

    UiHandleTouch();
    if (ui_redraw != 0U)
    {
      UiRender();
    }

    UiServiceDelay(SENSOR_REFRESH_TIME_MS);
  }
  /* USER CODE END 5 */
}

void HAL_TIM_PeriodElapsedCallback(TIM_HandleTypeDef *htim)
{
  if (htim->Instance == TIM7) {
    HAL_IncTick();
  }
}

void Error_Handler(void)
{
  __disable_irq();
  while (1)
  {
  }
}
